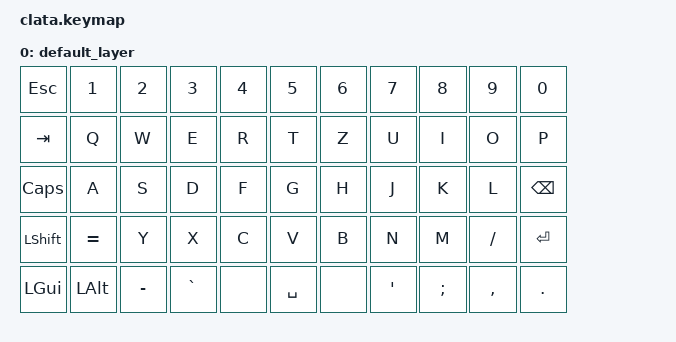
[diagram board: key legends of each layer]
/*
 * Copyright (c) 2020 The ZMK Contributors
 *
 * SPDX-License-Identifier: MIT
 */

#include <behaviors.dtsi>
#include <dt-bindings/zmk/keys.h>
#include <dt-bindings/zmk/bt.h>

/ {
        keymap {
                compatible = "zmk,keymap";

                default_layer {
                        bindings = <
   &kp ESC   &kp N1    &kp N2    &kp N3    &kp N4    &kp N5    &kp N6     &kp N7  &kp N8   &kp N9    &kp N0
   &kp TAB   &kp Q     &kp W     &kp E     &kp R     &kp T     &kp Z      &kp U   &kp I    &kp O     &kp P
   &kp CAPS  &kp A     &kp S     &kp D     &kp F     &kp G     &kp H      &kp J   &kp K    &kp L     &kp BSPC
   &kp LSHFT &kp EQUAL &kp Y     &kp X     &kp C     &kp V     &kp B      &kp N   &kp M    &kp FSLH  &kp RET
   &kp LGUI  &kp LALT  &kp MINUS &kp GRAVE &none     &kp SPACE &none      &kp SQT &kp SEMI &kp COMMA &kp PERIOD
                        >;
                };
        };
};
